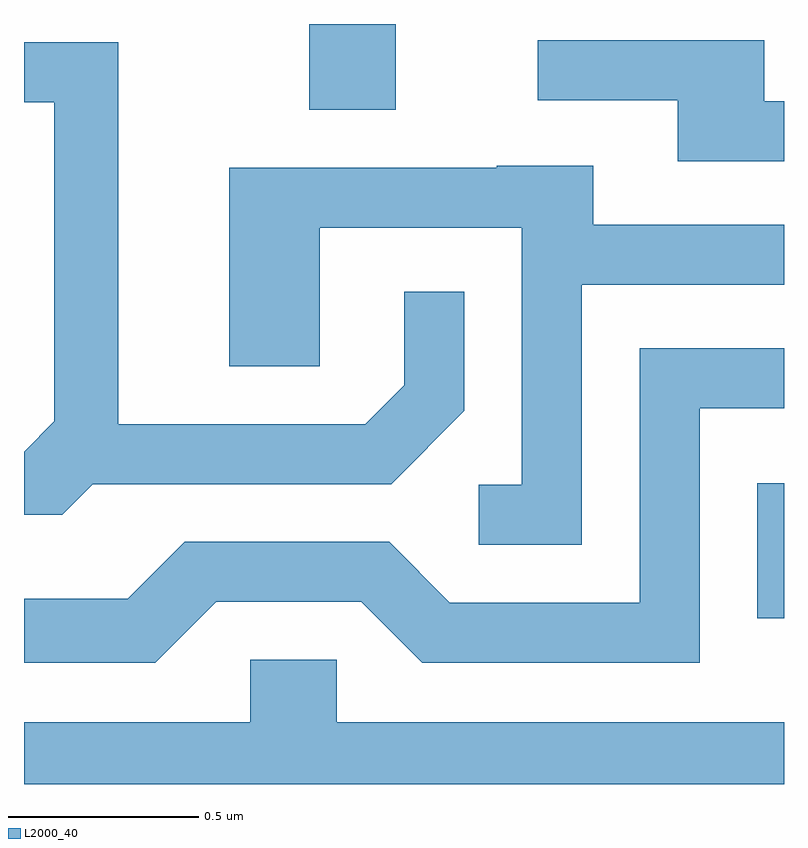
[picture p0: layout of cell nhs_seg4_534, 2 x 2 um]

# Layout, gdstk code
import gdstk
lib = gdstk.Library(unit=1e-6, precision=1e-09)
def R(c, l, rs):  # rectangles x0, y0, x1, y1
    for r in rs: c.add(gdstk.rectangle(r[:2], r[2:], *l))
def P(c, l, *ps):  # polygons
    for p in ps: c.add(gdstk.Polygon(p, *l))
L2000_40 = (2000, 40)

nhs_seg4_534 = lib.new_cell('nhs_seg4_534')
R(nhs_seg4_534, L2000_40, [(190.541,1377.418,190.611,1377.774), (189.361,1378.756,189.589,1378.982)])
P(nhs_seg4_534, L2000_40, [(190.611,1378.779),(190.559,1378.779),(190.559,1378.939),(189.963,1378.939),(189.963,1378.781),(190.331,1378.781),(190.331,1378.621),(190.611,1378.621)],
  [(188.792,1377.771),(189.577,1377.771),(189.769,1377.964),(189.769,1378.278),(189.611,1378.278),(189.611,1378.032),(189.509,1377.929),(188.859,1377.929),(188.859,1378.934),(188.611,1378.934),(188.611,1378.776),(188.691,1378.776),(188.691,1377.937),(188.611,1377.856),(188.611,1377.691),(188.712,1377.691)],
  [(190.079,1378.296),(190.611,1378.296),(190.611,1378.454),(190.109,1378.454),(190.109,1378.609),(189.855,1378.609),(189.855,1378.604),(189.151,1378.604),(189.151,1378.081),(189.389,1378.081),(189.389,1378.446),(189.921,1378.446),(189.921,1377.769),(189.808,1377.769),(189.808,1377.611),(190.079,1377.611)],
  [(189.117,1377.461),(189.499,1377.461),(189.659,1377.301),(190.389,1377.301),(190.389,1377.971),(190.611,1377.971),(190.611,1378.129),(190.231,1378.129),(190.231,1377.459),(189.732,1377.459),(189.572,1377.619),(189.034,1377.619),(188.884,1377.469),(188.611,1377.469),(188.611,1377.301),(188.957,1377.301)],
  [(190.611,1377.144),(189.434,1377.144),(189.434,1377.309),(189.206,1377.309),(189.206,1377.144),(188.611,1377.144),(188.611,1376.982),(190.611,1376.982)])

lib.write_gds('nhs_seg4_534.gds')
